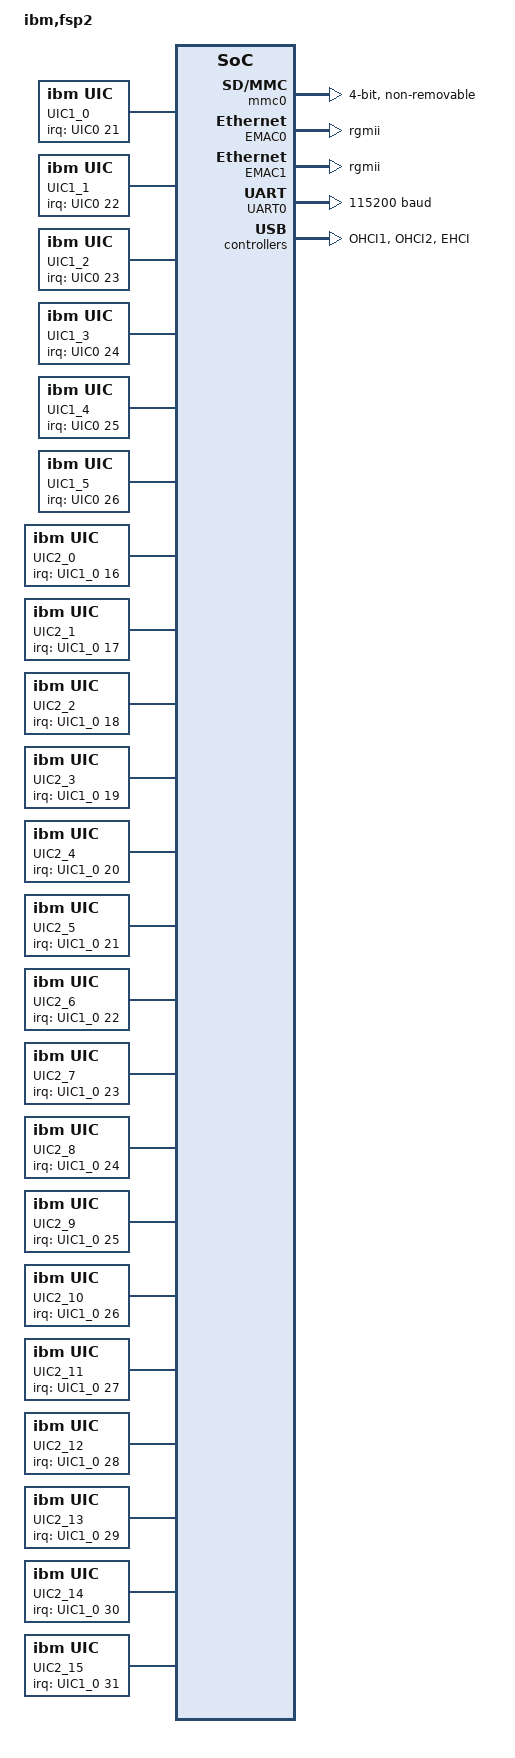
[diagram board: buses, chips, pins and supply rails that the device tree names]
/*
 * Device Tree Source for FSP2
 *
 * Copyright 2010,2012 IBM Corp.
 *
 * This file is licensed under the terms of the GNU General Public
 * License version 2.  This program is licensed "as is" without
 * any warranty of any kind, whether express or implied.
 */


/dts-v1/;

/ {
	#address-cells = <2>;
	#size-cells = <1>;
	model = "ibm,fsp2";
	compatible = "ibm,fsp2";
	dcr-parent = <&{/cpus/cpu@0}>;

	aliases {
		ethernet0 = &EMAC0;
		ethernet1 = &EMAC1;
		serial0 = &UART0;
	};

	cpus {
		#address-cells = <1>;
		#size-cells = <0>;

		cpu@0 {
			device_type = "cpu";
			model = "PowerPC, 476FSP2";
			reg = <0x0>;
			clock-frequency = <0>;    /* Filled in by cuboot */
			timebase-frequency = <0>; /* Filled in by cuboot */
			i-cache-line-size = <32>;
			d-cache-line-size = <32>;
			d-cache-size = <32768>;
			i-cache-size = <32768>;
			dcr-controller;
			dcr-access-method = "native";
		};
	};

	memory {
		device_type = "memory";
		reg = <0x00000000 0x00000000 0x00000000>; /* Filled in by
							     cuboot */
	};

	clocks {
		mmc_clk: mmc_clk {
			compatible = "fixed-clock";
			#clock-cells = <0>;
			clock-frequency = <50000000>;
			clock-output-names = "mmc_clk";
		};
	};

	UIC0: uic0 {
		#address-cells = <0>;
		#size-cells = <0>;
		#interrupt-cells = <2>;
		compatible = "ibm,uic";
		interrupt-controller;
		cell-index = <0>;
		dcr-reg = <0x2c0 0x8>;
	};

	/* "interrupts" field is <bit level bit level>
	   first pair is non-critical, second is critical */
	UIC1_0: uic1_0 {
		#address-cells = <0>;
		#size-cells = <0>;
		#interrupt-cells = <2>;

		compatible = "ibm,uic";
		interrupt-controller;
		cell-index = <1>;
		dcr-reg = <0x2c8 0x8>;
		interrupt-parent = <&UIC0>;
		interrupts = <21 0x4 4 0x84>;
	};

	/* PSI and DMA */
	UIC1_1: uic1_1 {
		#address-cells = <0>;
		#size-cells = <0>;
		#interrupt-cells = <2>;

		compatible = "ibm,uic";
		interrupt-controller;
		cell-index = <2>;
		dcr-reg = <0x350 0x8>;
		interrupt-parent = <&UIC0>;
		interrupts = <22 0x4 5 0x84>;
	};

	/* Ethernet and USB */
	UIC1_2: uic1_2 {
		#address-cells = <0>;
		#size-cells = <0>;
		#interrupt-cells = <2>;

		compatible = "ibm,uic";
		interrupt-controller;
		cell-index = <3>;
		dcr-reg = <0x358 0x8>;
		interrupt-parent = <&UIC0>;
		interrupts = <23 0x4 6 0x84>;
	};

	/* PLB Errors */
	UIC1_3: uic1_3 {
		#address-cells = <0>;
		#size-cells = <0>;
		#interrupt-cells = <2>;

		compatible = "ibm,uic";
		interrupt-controller;
		cell-index = <4>;
		dcr-reg = <0x360 0x8>;
		interrupt-parent = <&UIC0>;
		interrupts = <24 0x4 7 0x84>;
	};

	UIC1_4: uic1_4 {
		#address-cells = <0>;
		#size-cells = <0>;
		#interrupt-cells = <2>;

		compatible = "ibm,uic";
		interrupt-controller;
		cell-index = <5>;
		dcr-reg = <0x368 0x8>;
		interrupt-parent = <&UIC0>;
		interrupts = <25 0x4 8 0x84>;
	};

	UIC1_5: uic1_5 {
		#address-cells = <0>;
		#size-cells = <0>;
		#interrupt-cells = <2>;

		compatible = "ibm,uic";
		interrupt-controller;
		cell-index = <6>;
		dcr-reg = <0x370 0x8>;
		interrupt-parent = <&UIC0>;
		interrupts = <26 0x4 9 0x84>;
	};

	/* 2nd level UICs for FSI */
	UIC2_0: uic2_0 {
		#address-cells = <0>;
		#size-cells = <0>;
		#interrupt-cells = <2>;

		compatible = "ibm,uic";
		interrupt-controller;
		cell-index = <7>;
		dcr-reg = <0x2d0 0x8>;
		interrupt-parent = <&UIC1_0>;
		interrupts = <16 0x4 0 0x84>;
	};

	UIC2_1: uic2_1 {
		#address-cells = <0>;
		#size-cells = <0>;
		#interrupt-cells = <2>;

		compatible = "ibm,uic";
		interrupt-controller;
		cell-index = <8>;
		dcr-reg = <0x2d8 0x8>;
		interrupt-parent = <&UIC1_0>;
		interrupts = <17 0x4 1 0x84>;
	};

	UIC2_2: uic2_2 {
		#address-cells = <0>;
		#size-cells = <0>;
		#interrupt-cells = <2>;

		compatible = "ibm,uic";
		interrupt-controller;
		cell-index = <9>;
		dcr-reg = <0x2e0 0x8>;
		interrupt-parent = <&UIC1_0>;
		interrupts = <18 0x4 2 0x84>;
	};

	UIC2_3: uic2_3 {
		#address-cells = <0>;
		#size-cells = <0>;
		#interrupt-cells = <2>;

		compatible = "ibm,uic";
		interrupt-controller;
		cell-index = <10>;
		dcr-reg = <0x2e8 0x8>;
		interrupt-parent = <&UIC1_0>;
		interrupts = <19 0x4 3 0x84>;
	};

	UIC2_4: uic2_4 {
		#address-cells = <0>;
		#size-cells = <0>;
		#interrupt-cells = <2>;

		compatible = "ibm,uic";
		interrupt-controller;
		cell-index = <11>;
		dcr-reg = <0x2f0 0x8>;
		interrupt-parent = <&UIC1_0>;
		interrupts = <20 0x4 4 0x84>;
	};

	UIC2_5: uic2_5 {
		#address-cells = <0>;
		#size-cells = <0>;
		#interrupt-cells = <2>;

		compatible = "ibm,uic";
		interrupt-controller;
		cell-index = <12>;
		dcr-reg = <0x2f8 0x8>;
		interrupt-parent = <&UIC1_0>;
		interrupts = <21 0x4 5 0x84>;
	};

	UIC2_6: uic2_6 {
		#address-cells = <0>;
		#size-cells = <0>;
		#interrupt-cells = <2>;

		compatible = "ibm,uic";
		interrupt-controller;
		cell-index = <13>;
		dcr-reg = <0x300 0x8>;
		interrupt-parent = <&UIC1_0>;
		interrupts = <22 0x4 6 0x84>;
	};

	UIC2_7: uic2_7 {
		#address-cells = <0>;
		#size-cells = <0>;
		#interrupt-cells = <2>;

		compatible = "ibm,uic";
		interrupt-controller;
		cell-index = <14>;
		dcr-reg = <0x308 0x8>;
		interrupt-parent = <&UIC1_0>;
		interrupts = <23 0x4 7 0x84>;
	};

	UIC2_8: uic2_8 {
		#address-cells = <0>;
		#size-cells = <0>;
		#interrupt-cells = <2>;

		compatible = "ibm,uic";
		interrupt-controller;
		cell-index = <15>;
		dcr-reg = <0x310 0x8>;
		interrupt-parent = <&UIC1_0>;
		interrupts = <24 0x4 8 0x84>;
	};

	UIC2_9: uic2_9 {
		#address-cells = <0>;
		#size-cells = <0>;
		#interrupt-cells = <2>;

		compatible = "ibm,uic";
		interrupt-controller;
		cell-index = <16>;
		dcr-reg = <0x318 0x8>;
		interrupt-parent = <&UIC1_0>;
		interrupts = <25 0x4 9 0x84>;
	};

	UIC2_10: uic2_10 {
		#address-cells = <0>;
		#size-cells = <0>;
		#interrupt-cells = <2>;

		compatible = "ibm,uic";
		interrupt-controller;
		cell-index = <17>;
		dcr-reg = <0x320 0x8>;
		interrupt-parent = <&UIC1_0>;
		interrupts = <26 0x4 10 0x84>;
	};

	UIC2_11: uic2_11 {
		#address-cells = <0>;
		#size-cells = <0>;
		#interrupt-cells = <2>;

		compatible = "ibm,uic";
		interrupt-controller;
		cell-index = <18>;
		dcr-reg = <0x328 0x8>;
		interrupt-parent = <&UIC1_0>;
		interrupts = <27 0x4 11 0x84>;
	};

	UIC2_12: uic2_12 {
		#address-cells = <0>;
		#size-cells = <0>;
		#interrupt-cells = <2>;

		compatible = "ibm,uic";
		interrupt-controller;
		cell-index = <19>;
		dcr-reg = <0x330 0x8>;
		interrupt-parent = <&UIC1_0>;
		interrupts = <28 0x4 12 0x84>;
	};

	UIC2_13: uic2_13 {
		#address-cells = <0>;
		#size-cells = <0>;
		#interrupt-cells = <2>;

		compatible = "ibm,uic";
		interrupt-controller;
		cell-index = <20>;
		dcr-reg = <0x338 0x8>;
		interrupt-parent = <&UIC1_0>;
		interrupts = <29 0x4 13 0x84>;
	};

	UIC2_14: uic2_14 {
		#address-cells = <0>;
		#size-cells = <0>;
		#interrupt-cells = <2>;

		compatible = "ibm,uic";
		interrupt-controller;
		cell-index = <21>;
		dcr-reg = <0x340 0x8>;
		interrupt-parent = <&UIC1_0>;
		interrupts = <30 0x4 14 0x84>;
	};

	UIC2_15: uic2_15 {
		#address-cells = <0>;
		#size-cells = <0>;
		#interrupt-cells = <2>;

		compatible = "ibm,uic";
		interrupt-controller;
		cell-index = <22>;
		dcr-reg = <0x348 0x8>;
		interrupt-parent = <&UIC1_0>;
		interrupts = <31 0x4 15 0x84>;
	};

	plb6 {
		compatible = "ibm,plb6";
		#address-cells = <2>;
		#size-cells = <1>;
		ranges;

		MCW0: memory-controller-wrapper {
			compatible = "ibm,cw-476fsp2";
			dcr-reg = <0x11111800 0x40>;
		};

		MCIF0: memory-controller {
			compatible = "ibm,sdram-476fsp2", "ibm,sdram-4xx-ddr3";
			dcr-reg = <0x11120000 0x10000>;
			mcer-device = <&MCW0>;
			interrupt-parent = <&UIC0>;
			interrupts = <10 0x84   /* ECC UE */
				      11 0x84>; /* ECC CE */
		};
	};

	plb4 {
		compatible = "ibm,plb4";
		#address-cells = <1>;
		#size-cells = <1>;
		ranges = <0x00000000 0x00000010 0x00000000 0x80000000
			  0x80000000 0x00000010 0x80000000 0x80000000>;
		clock-frequency = <333333334>;

		plb6-system-hung-irq {
			compatible = "ibm,bus-error-irq";
			#interrupt-cells = <2>;
			interrupt-parent = <&UIC0>;
			interrupts = <0 0x84>;
		};

		l2-error-irq {
			compatible = "ibm,bus-error-irq";
			#interrupt-cells = <2>;
			interrupt-parent = <&UIC0>;
			interrupts = <20 0x84>;
		};

		plb6-plb4-irq {
			compatible = "ibm,bus-error-irq";
			#interrupt-cells = <2>;
			interrupt-parent = <&UIC0>;
			interrupts = <1 0x84>;
		};

		plb4-ahb-irq {
			compatible = "ibm,bus-error-irq";
			#interrupt-cells = <2>;
			interrupt-parent = <&UIC1_3>;
			interrupts = <20 0x84>;
		};

		opbd-error-irq {
			compatible = "ibm,opbd-error-irq";
			#interrupt-cells = <2>;
			interrupt-parent = <&UIC1_4>;
			interrupts = <5 0x84>;
		};

		cmu-error-irq {
			compatible = "ibm,cmu-error-irq";
			#interrupt-cells = <2>;
			interrupt-parent = <&UIC0>;
			interrupts = <28 0x84>;
		};

		conf-error-irq {
			compatible = "ibm,conf-error-irq";
			#interrupt-cells = <2>;
			interrupt-parent = <&UIC1_4>;
			interrupts = <11 0x84>;
		};

		mc-ue-irq {
			compatible = "ibm,mc-ue-irq";
			#interrupt-cells = <2>;
			interrupt-parent = <&UIC0>;
			interrupts = <10 0x84>;
		};

		reset-warning-irq {
			compatible = "ibm,reset-warning-irq";
			#interrupt-cells = <2>;
			interrupt-parent = <&UIC0>;
			interrupts = <17 0x84>;
		};

		MAL0: mcmal0 {
			#interrupt-cells = <1>;
			#address-cells = <0>;
			#size-cells = <0>;
			compatible = "ibm,mcmal";
			dcr-reg = <0x80 0x80>;
			num-tx-chans = <1>;
			num-rx-chans = <1>;
			interrupt-parent = <&MAL0>;
			interrupts = <0 1 2 3 4>;
			/* index interrupt-parent interrupt# type */
			interrupt-map = </*TXEOB*/ 0 &UIC1_2 4 0x4
					 /*RXEOB*/ 1 &UIC1_2 3 0x4
					 /*SERR*/  2 &UIC1_2 7 0x4
					 /*TXDE*/  3 &UIC1_2 6 0x4
					 /*RXDE*/  4 &UIC1_2 5 0x4>;
		};

		MAL1: mcmal1 {
			#interrupt-cells = <1>;
			#address-cells = <0>;
			#size-cells = <0>;
			compatible = "ibm,mcmal";
			dcr-reg = <0x100 0x80>;
			num-tx-chans = <1>;
			num-rx-chans = <1>;
			interrupt-parent = <&MAL1>;
			interrupts = <0 1 2 3 4>;
			/* index interrupt-parent interrupt# type */
			interrupt-map = </*TXEOB*/ 0 &UIC1_2 12 0x4
					 /*RXEOB*/ 1 &UIC1_2 11 0x4
					 /*SERR*/  2 &UIC1_2 15 0x4
					 /*TXDE*/  3 &UIC1_2 14 0x4
					 /*RXDE*/  4 &UIC1_2 13 0x4>;
		};

		mmc0: mmc@20c0000 {
			compatible	= "st,sdhci-stih407", "st,sdhci";
			reg		= <0x020c0000 0x20000>;
			reg-names	= "mmc";
			interrupts	= <21 0x4>;
			interrupt-parent = <&UIC1_3>;
			interrupt-names	= "mmcirq";
			pinctrl-names	= "default";
			pinctrl-0	= <>;
			clock-names	= "mmc";
			clocks		= <&mmc_clk>;
			bus-width	= <4>;
			non-removable;
			sd-uhs-sdr50;
			sd-uhs-sdr104;
			sd-uhs-ddr50;
		};

		opb {
			compatible = "ibm,opb";
			#address-cells = <1>;
			#size-cells = <1>;
			ranges; // pass-thru to parent bus
			clock-frequency = <83333334>;

			EMAC0: ethernet@b0000000 {
				linux,network-index = <0>;
				device_type = "network";
				compatible = "ibm,emac4sync";
				has-inverted-stacr-oc;
				interrupt-parent = <&UIC1_2>;
				interrupts = <1 0x4 0 0x4>;
				reg = <0xb0000000 0x100>;
				local-mac-address = [000000000000]; /* Filled in by
							       cuboot */
				mal-device = <&MAL0>;
				mal-tx-channel = <0>;
				mal-rx-channel = <0>;
				cell-index = <0>;
				max-frame-size = <1500>;
				rx-fifo-size = <4096>;
				tx-fifo-size = <4096>;
				rx-fifo-size-gige = <16384>;
				tx-fifo-size-gige = <8192>;
				phy-address = <1>;
				phy-mode = "rgmii";
				phy-map = <00000003>;
				rgmii-device = <&RGMII>;
				rgmii-channel = <0>;
			};

			EMAC1: ethernet@b0000100 {
				linux,network-index = <1>;
				device_type = "network";
				compatible = "ibm,emac4sync";
				has-inverted-stacr-oc;
				interrupt-parent = <&UIC1_2>;
				interrupts = <9 0x4 8 0x4>;
				reg = <0xb0000100 0x100>;
				local-mac-address = [000000000000]; /* Filled in by
							       cuboot */
				mal-device = <&MAL1>;
				mal-tx-channel = <0>;
				mal-rx-channel = <0>;
				cell-index = <1>;
				max-frame-size = <1500>;
				rx-fifo-size = <4096>;
				tx-fifo-size = <4096>;
				rx-fifo-size-gige = <16384>;
				tx-fifo-size-gige = <8192>;
				phy-address = <2>;
				phy-mode = "rgmii";
				phy-map = <00000003>;
				rgmii-device = <&RGMII>;
				rgmii-channel = <1>;
			};

			RGMII: rgmii@b0000600 {
				compatible = "ibm,rgmii";
				has-mdio;
				reg = <0xb0000600 0x8>;
			};

			UART0: serial@b0020000 {
				device_type = "serial";
				compatible = "ns16550";
				reg = <0xb0020000 0x8>;
				virtual-reg = <0xb0020000>;
				clock-frequency = <20833333>;
				current-speed = <115200>;
				interrupt-parent = <&UIC0>;
				interrupts = <31 0x4>;
			};
		};

		OHCI1: ohci@2040000 {
			compatible = "ohci-le";
			reg = <0x02040000 0xa0>;
			interrupt-parent = <&UIC1_3>;
			interrupts = <28 0x8 29 0x8>;
		};

		OHCI2: ohci@2080000 {
			compatible = "ohci-le";
			reg = <0x02080000 0xa0>;
			interrupt-parent = <&UIC1_3>;
			interrupts = <30 0x8 31 0x8>;
		};

		EHCI: ehci@2000000 {
			compatible = "usb-ehci";
			reg = <0x02000000 0xa4>;
			interrupt-parent = <&UIC1_3>;
			interrupts = <23 0x4>;
		};

	};

	chosen {
		linux,stdout-path = "/plb/opb/serial@b0020000";
		bootargs = "console=ttyS0,115200 rw log_buf_len=32768 debug";
	};
};
